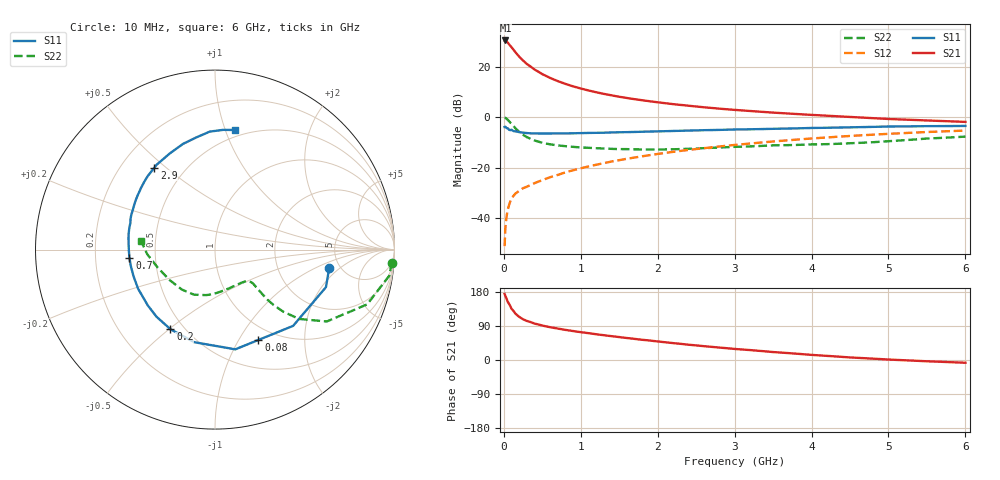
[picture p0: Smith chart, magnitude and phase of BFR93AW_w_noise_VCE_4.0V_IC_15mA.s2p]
! Infineon Technologies  Discrete & RF Semiconductors
! BFR93AW
! VCE =  4.0 V,  IC =  15 mA
! Common Emitter S-Parameters:  Jan 2017
# GHz  S  MA  R  50
!  f  S11  S21  S12  S22
! GHz  MAG  ANG  MAG  ANG  MAG  ANG  MAG  ANG
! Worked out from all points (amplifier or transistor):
!   77 points, 10 MHz to 6 GHz, reference 50 ohm
!   highest |S21| = 30.7 dB at 20 MHz (marker M1)
!   |S21| within 3 dB of that: start of sweep to 108.2 MHz
!   unconditionally stable (mu >= 1): 697.9 MHz to 2.094 GHz
!   at 130 MHz: K = 0.39, MSG = 29.0 dB, |S12| = -31.1 dB
!   at 2.2 GHz: K = 0.99, MSG = 9.5 dB, |S12| = -13.7 dB
!   at 6 GHz: K = 0.88, MSG = 1.7 dB, |S12| = -5.2 dB
!   lowest NFmin = 1.37 dB at 450 MHz
!   S11 on the Smith chart (normalised r, x): 10 MHz: 4.07, -1.47; 80 MHz: 0.83, -1.22; 200 MHz: 0.42, -0.51; 700 MHz: 0.35, -0.04; 2.9 GHz: 0.34, +0.46; 6 GHz: 0.44, +1.08
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0.01  0.6447 -9.4  34.14 174.3  0.0027 84.1  0.9877 -4.2
0.02  0.6526 -18.7  34.25 169.1  0.0063 88.2  0.9813 -8.6
0.05  0.6082 -44.3  31.16 154.0  0.0143 71.7  0.9008 -19.8
0.08  0.5585 -64.3  27.18 143.6  0.0202 63.6  0.7998 -26.9
0.1  0.5671 -78.5  25.16 135.0  0.0243 60.5  0.7408 -32.7
0.15  0.5286 -102.7  20 122.4  0.0302 56.4  0.6074 -39.5
0.2  0.5082 -119.2  16.25 113.8  0.0344 54.2  0.5135 -42.3
0.25  0.4961 -131.1  13.6 107.5  0.0388 53.7  0.4495 -43.4
0.3  0.4867 -140.3  11.61 103.0  0.0415 54.5  0.4025 -43.7
0.4  0.4808 -153.1  8.988 96.0  0.0488 57.5  0.3454 -43.0
0.5  0.4775 -162.2  7.289 90.9  0.056 60.2  0.3115 -42.4
0.6  0.4779 -169.1  6.144 86.6  0.064 61.6  0.2904 -41.9
0.7  0.4788 -174.5  5.299 83.0  0.0711 63.5  0.2764 -41.8
0.9  0.482 176.4  4.158 76.4  0.0882 64.9  0.2583 -43.3
1.1  0.4897 169.0  3.448 70.8  0.1051 66.3  0.2474 -45.8
1.5  0.5052 157.2  2.581 60.5  0.1403 66.2  0.2332 -54.3
2.1  0.5308 142.6  1.918 46.8  0.196 63.4  0.23 -72.6
2.9  0.5682 126.4  1.452 31.1  0.2721 57.5  0.2544 -98.2
3.1  0.5764 122.5  1.376 27.7  0.2915 55.7  0.2609 -104.0
4.1  0.618 105.4  1.101 12.2  0.3887 45.7  0.2906 -133.3
5.1  0.6596 91.2  0.917 0.3  0.478 34.3  0.3423 -165.8
6  0.6754 80.6  0.813 -7.3  0.5465 23.9  0.4137 173.6
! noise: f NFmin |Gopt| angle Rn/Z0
0.45  1.37  0.12  133  0.13
0.9  1.66  0.23  164  0.14
1.9  2.67  0.47  -144  0.2
2.4  3.3  0.54  -129  0.4
